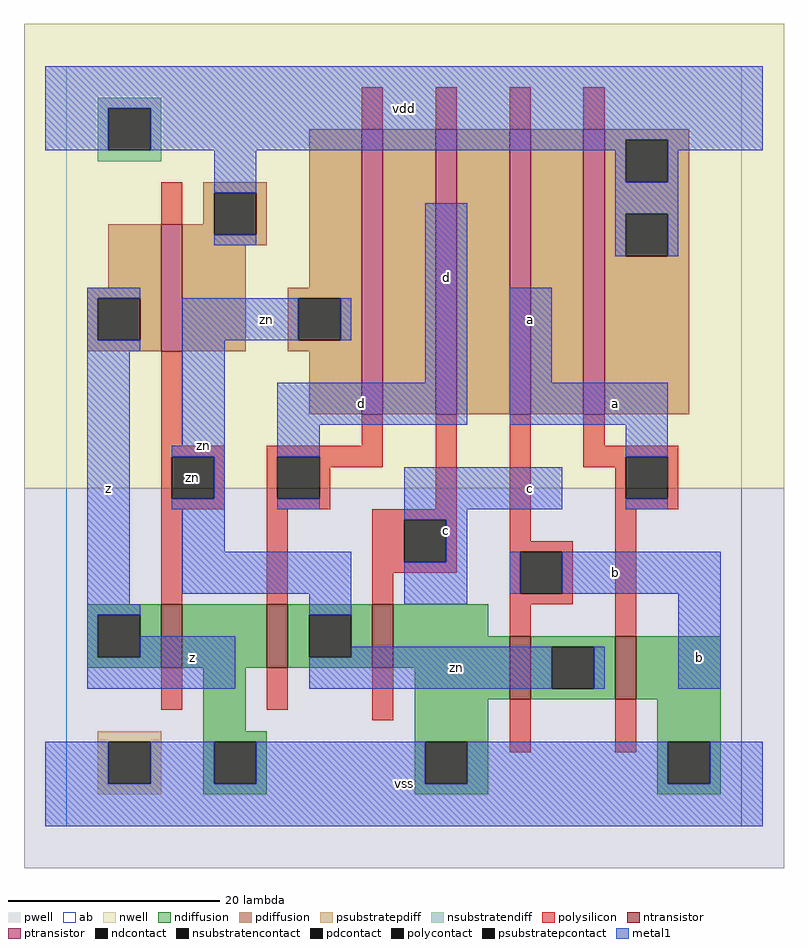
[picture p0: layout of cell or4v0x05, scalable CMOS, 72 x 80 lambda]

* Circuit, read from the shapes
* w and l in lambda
.subckt or4v0x05 a b c d vdd vss z zn
M1 vss zn z vss nfet w=6 l=2
M2 zn d vss vss nfet w=6 l=2
M3 vss c zn vss nfet w=6 l=2
M4 zn b vss vss nfet w=6 l=2
M5 vss a zn vss nfet w=6 l=2
M6 vdd zn z vdd pfet w=12 l=2
M7 n1 d zn vdd pfet w=27 l=2
M8 n2 c n1 vdd pfet w=27 l=2
M9 n3 b n2 vdd pfet w=27 l=2
M10 vdd a n3 vdd pfet w=27 l=2
.ends

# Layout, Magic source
magic
tech scmos
<< ab >>
rect 0 0 64 72
<< pwell >>
rect -4 -4 68 32
<< nwell >>
rect -4 32 68 76
<< polysilicon >>
rect 28 66 30 70
rect 35 66 37 70
rect 42 66 44 70
rect 49 66 51 70
rect 9 57 11 61
rect 9 36 11 45
rect 28 36 30 39
rect 9 35 15 36
rect 9 31 10 35
rect 14 31 15 35
rect 9 30 15 31
rect 19 35 30 36
rect 19 31 20 35
rect 24 34 30 35
rect 24 31 25 34
rect 19 30 25 31
rect 35 30 37 39
rect 9 21 11 30
rect 19 21 21 30
rect 29 29 37 30
rect 29 25 32 29
rect 36 25 37 29
rect 29 24 37 25
rect 42 27 44 39
rect 49 36 51 39
rect 49 35 58 36
rect 49 34 53 35
rect 52 31 53 34
rect 57 31 58 35
rect 52 30 58 31
rect 42 26 48 27
rect 29 21 31 24
rect 42 22 43 26
rect 47 22 48 26
rect 42 21 48 22
rect 42 18 44 21
rect 52 18 54 30
rect 9 11 11 15
rect 19 11 21 15
rect 29 10 31 15
rect 42 7 44 12
rect 52 7 54 12
<< ndiffusion >>
rect 2 20 9 21
rect 2 16 3 20
rect 7 16 9 20
rect 2 15 9 16
rect 11 15 19 21
rect 21 20 29 21
rect 21 16 23 20
rect 27 16 29 20
rect 21 15 29 16
rect 31 18 40 21
rect 31 15 42 18
rect 13 9 17 15
rect 33 12 42 15
rect 44 17 52 18
rect 44 13 46 17
rect 50 13 52 17
rect 44 12 52 13
rect 54 12 62 18
rect 13 8 19 9
rect 13 4 14 8
rect 18 4 19 8
rect 13 3 19 4
rect 33 8 40 12
rect 33 4 34 8
rect 38 4 40 8
rect 56 8 62 12
rect 33 3 40 4
rect 56 4 57 8
rect 61 4 62 8
rect 56 3 62 4
<< pdiffusion >>
rect 13 60 19 61
rect 13 57 14 60
rect 4 51 9 57
rect 2 50 9 51
rect 2 46 3 50
rect 7 46 9 50
rect 2 45 9 46
rect 11 56 14 57
rect 18 56 19 60
rect 11 55 19 56
rect 11 45 17 55
rect 23 51 28 66
rect 21 50 28 51
rect 21 46 22 50
rect 26 46 28 50
rect 21 45 28 46
rect 23 39 28 45
rect 30 39 35 66
rect 37 39 42 66
rect 44 39 49 66
rect 51 65 59 66
rect 51 61 53 65
rect 57 61 59 65
rect 51 58 59 61
rect 51 54 53 58
rect 57 54 59 58
rect 51 39 59 54
<< metal1 >>
rect -2 68 66 72
rect -2 64 4 68
rect 8 65 66 68
rect 8 64 53 65
rect 14 60 18 64
rect 52 61 53 64
rect 57 64 66 65
rect 57 61 58 64
rect 14 55 18 56
rect 2 50 7 51
rect 2 46 3 50
rect 2 45 7 46
rect 11 46 22 50
rect 26 46 27 50
rect 2 21 6 45
rect 11 36 15 46
rect 34 42 38 59
rect 52 58 58 61
rect 52 54 53 58
rect 57 54 58 58
rect 10 35 15 36
rect 14 31 15 35
rect 10 30 15 31
rect 20 38 38 42
rect 42 42 46 51
rect 42 38 57 42
rect 20 35 24 38
rect 53 35 57 38
rect 20 30 24 31
rect 32 30 47 34
rect 53 30 57 31
rect 11 26 15 30
rect 32 29 38 30
rect 11 22 27 26
rect 2 20 7 21
rect 2 16 3 20
rect 23 20 27 22
rect 36 25 38 29
rect 32 21 38 25
rect 42 22 43 26
rect 47 22 62 26
rect 7 16 16 18
rect 2 13 16 16
rect 27 16 46 17
rect 23 13 46 16
rect 50 13 51 17
rect 58 13 62 22
rect -2 4 4 8
rect 8 4 14 8
rect 18 4 34 8
rect 38 4 57 8
rect 61 4 66 8
rect -2 0 66 4
<< ntransistor >>
rect 9 15 11 21
rect 19 15 21 21
rect 29 15 31 21
rect 42 12 44 18
rect 52 12 54 18
<< ptransistor >>
rect 9 45 11 57
rect 28 39 30 66
rect 35 39 37 66
rect 42 39 44 66
rect 49 39 51 66
<< polycontact >>
rect 10 31 14 35
rect 20 31 24 35
rect 32 25 36 29
rect 53 31 57 35
rect 43 22 47 26
<< ndcontact >>
rect 3 16 7 20
rect 23 16 27 20
rect 46 13 50 17
rect 14 4 18 8
rect 34 4 38 8
rect 57 4 61 8
<< pdcontact >>
rect 3 46 7 50
rect 14 56 18 60
rect 22 46 26 50
rect 53 61 57 65
rect 53 54 57 58
<< psubstratepcontact >>
rect 4 4 8 8
<< nsubstratencontact >>
rect 4 64 8 68
<< psubstratepdiff >>
rect 3 8 9 9
rect 3 4 4 8
rect 8 4 9 8
rect 3 3 9 4
<< nsubstratendiff >>
rect 3 68 9 69
rect 3 64 4 68
rect 8 64 9 68
rect 3 63 9 64
<< labels >>
rlabel polycontact 12 33 12 33 6 zn
rlabel metal1 12 16 12 16 6 z
rlabel metal1 4 32 4 32 6 z
rlabel metal1 28 40 28 40 6 d
rlabel metal1 13 36 13 36 6 zn
rlabel metal1 19 48 19 48 6 zn
rlabel metal1 32 4 32 4 6 vss
rlabel metal1 36 28 36 28 6 c
rlabel metal1 44 32 44 32 6 c
rlabel metal1 36 52 36 52 6 d
rlabel metal1 44 48 44 48 6 a
rlabel metal1 32 68 32 68 6 vdd
rlabel metal1 37 15 37 15 6 zn
rlabel metal1 60 16 60 16 6 b
rlabel metal1 52 24 52 24 6 b
rlabel metal1 52 40 52 40 6 a
<< end >>
